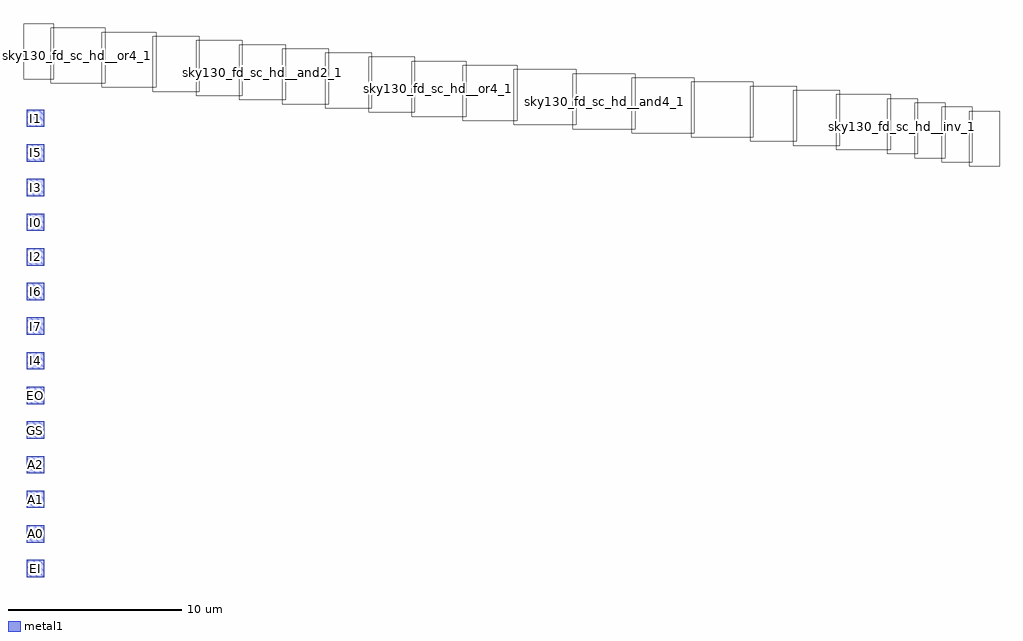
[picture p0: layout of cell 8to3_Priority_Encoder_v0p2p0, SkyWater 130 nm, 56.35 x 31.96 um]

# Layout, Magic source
magic
tech sky130A
magscale 1 2
<< metal1 >>
rect 0 0 200 200
rect 0 -400 200 -200
rect 0 -800 200 -600
rect 0 -1200 200 -1000
rect 0 -1600 200 -1400
rect 0 -2000 200 -1800
rect 0 -2400 200 -2200
rect 0 -2800 200 -2600
rect 0 -3200 200 -3000
rect 0 -3600 200 -3400
rect 0 -4000 200 -3800
rect 0 -4400 200 -4200
rect 0 -4800 200 -4600
rect 0 -5200 200 -5000
use sky130_fd_sc_hd__or4_1  x1 $PDKPATH/libs.ref/sky130_fd_sc_hd/mag
transform 1 0 314 0 1 552
box -38 -48 590 592
use sky130_fd_sc_hd__or4_1  x2
transform 1 0 904 0 1 504
box -38 -48 590 592
use sky130_fd_sc_hd__inv_1  x3 $PDKPATH/libs.ref/sky130_fd_sc_hd/mag
transform 1 0 9976 0 1 -264
box -38 -48 314 592
use sky130_fd_sc_hd__or3_1  x4 $PDKPATH/libs.ref/sky130_fd_sc_hd/mag
transform 1 0 1494 0 1 456
box -38 -48 498 592
use sky130_fd_sc_hd__inv_1  x5
transform 1 0 10290 0 1 -312
box -38 -48 314 592
use sky130_fd_sc_hd__inv_1  x6
transform 1 0 10604 0 1 -360
box -38 -48 314 592
use sky130_fd_sc_hd__inv_1  x7
transform 1 0 10918 0 1 -408
box -38 -48 314 592
use sky130_fd_sc_hd__and2_1  x8 $PDKPATH/libs.ref/sky130_fd_sc_hd/mag
transform 1 0 1992 0 1 408
box -38 -48 498 592
use sky130_fd_sc_hd__inv_1  x9
transform 1 0 0 0 1 600
box -38 -48 314 592
use sky130_fd_sc_hd__and2_1  x10
transform 1 0 2490 0 1 360
box -38 -48 498 592
use sky130_fd_sc_hd__and2_1  x11
transform 1 0 2988 0 1 312
box -38 -48 498 592
use sky130_fd_sc_hd__and2_1  x12
transform 1 0 3486 0 1 264
box -38 -48 498 592
use sky130_fd_sc_hd__and2_1  x13
transform 1 0 3984 0 1 216
box -38 -48 498 592
use sky130_fd_sc_hd__or4_1  x14
transform 1 0 4482 0 1 168
box -38 -48 590 592
use sky130_fd_sc_hd__and4_1  x15 $PDKPATH/libs.ref/sky130_fd_sc_hd/mag
transform 1 0 5662 0 1 72
box -38 -48 682 592
use sky130_fd_sc_hd__and4_1  x16
transform 1 0 6344 0 1 24
box -38 -48 682 592
use sky130_fd_sc_hd__or4_1  x17
transform 1 0 5072 0 1 120
box -38 -48 590 592
use sky130_fd_sc_hd__and4_1  x18
transform 1 0 7026 0 1 -24
box -38 -48 682 592
use sky130_fd_sc_hd__and4_1  x19
transform 1 0 7708 0 1 -72
box -38 -48 682 592
use sky130_fd_sc_hd__and3_1  x20 $PDKPATH/libs.ref/sky130_fd_sc_hd/mag
transform 1 0 8390 0 1 -120
box -38 -48 498 592
use sky130_fd_sc_hd__and2_1  x21
transform 1 0 8888 0 1 -168
box -38 -48 498 592
use sky130_fd_sc_hd__or4_1  x22
transform 1 0 9386 0 1 -216
box -38 -48 590 592
<< labels >>
flabel metal1 0 0 200 200 0 FreeSans 256 0 0 0 I1
port 0 nsew
flabel metal1 0 -400 200 -200 0 FreeSans 256 0 0 0 I5
port 1 nsew
flabel metal1 0 -800 200 -600 0 FreeSans 256 0 0 0 I3
port 2 nsew
flabel metal1 0 -1200 200 -1000 0 FreeSans 256 0 0 0 I0
port 3 nsew
flabel metal1 0 -1600 200 -1400 0 FreeSans 256 0 0 0 I2
port 4 nsew
flabel metal1 0 -2000 200 -1800 0 FreeSans 256 0 0 0 I6
port 5 nsew
flabel metal1 0 -2400 200 -2200 0 FreeSans 256 0 0 0 I7
port 6 nsew
flabel metal1 0 -2800 200 -2600 0 FreeSans 256 0 0 0 I4
port 7 nsew
flabel metal1 0 -3200 200 -3000 0 FreeSans 256 0 0 0 EO
port 8 nsew
flabel metal1 0 -3600 200 -3400 0 FreeSans 256 0 0 0 GS
port 9 nsew
flabel metal1 0 -4000 200 -3800 0 FreeSans 256 0 0 0 A2
port 10 nsew
flabel metal1 0 -4400 200 -4200 0 FreeSans 256 0 0 0 A1
port 11 nsew
flabel metal1 0 -4800 200 -4600 0 FreeSans 256 0 0 0 A0
port 12 nsew
flabel metal1 0 -5200 200 -5000 0 FreeSans 256 0 0 0 EI
port 13 nsew
<< end >>
